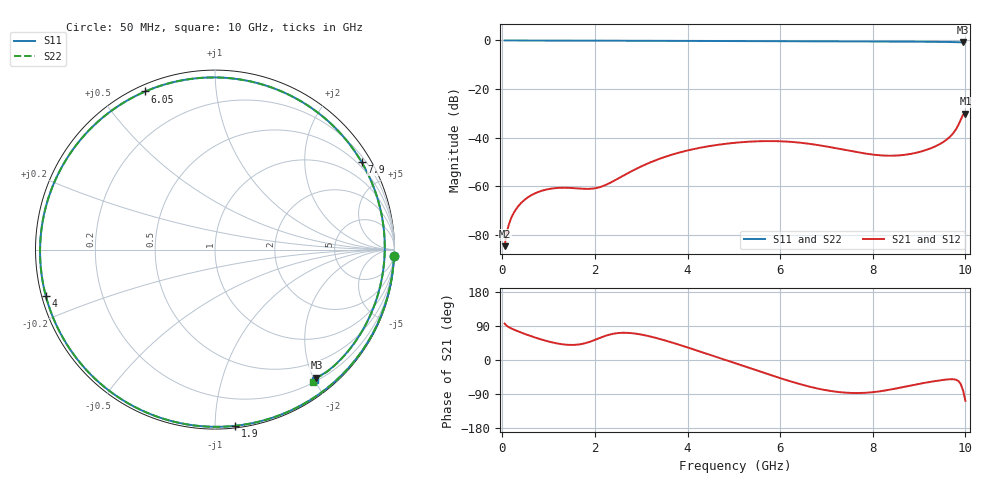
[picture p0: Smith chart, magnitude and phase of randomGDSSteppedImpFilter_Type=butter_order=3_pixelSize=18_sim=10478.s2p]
! freq	dB(S11)	phase(S11)	dB(S12)	phase(S12)
!  dB(S21)	phase(S21)	dB(S22)	phase(S22)
!S-par simulation data
#  GHz  S  DB  R 50
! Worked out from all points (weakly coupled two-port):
!   200 points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, 50 MHz to 10 GHz, reference 50 ohm
!   highest |S21| = -30.16 dB at 10 GHz (marker M1); lowest = -84.5 dB at 50 MHz (marker M2)
!   lowest |S11| = -0.8 dB at 9.95 GHz (marker M3), VSWR 21.09, Z = 12.4 - j102 ohm
!   |S11| at or under -10 dB: nowhere
!   |S22| runs from -0.8 to 0.0 dB; largest |S21 - S12| = 0
!   S11 on the Smith chart (normalised r, x): 50 MHz: 2, -52; 1.9 GHz: 0.01, -1.12; 4 GHz: 0.01, -0.13; 6.05 GHz: 0.03, +0.65; 7.9 GHz: 0.35, +3.60; 10 GHz: 0.22, -2.00
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0.05  -0.01 -2.2  -84.55 96.2  -84.55 96.2  -0.01 -2.2
0.3  -0.03 -13.7  -69.26 77.6  -69.26 77.6  -0.03 -13.7
0.6  -0.04 -27.3  -63.91 63.8  -63.91 63.8  -0.04 -27.3
1.1  -0.06 -49.5  -60.78 45.8  -60.78 45.8  -0.06 -49.5
1.75  -0.10 -77.2  -60.97 43.1  -60.97 43.1  -0.10 -77.2
1.9  -0.10 -83.4  -60.97 48.4  -60.97 48.4  -0.10 -83.4
2.6  -0.13 -111.4  -55.72 71.8  -55.72 71.8  -0.13 -111.5
3.4  -0.17 -142.1  -48.61 55.6  -48.61 55.6  -0.17 -142.1
4  -0.20 -164.6  -45.22 33.2  -45.22 33.2  -0.20 -164.8
4.55  -0.23 174.5  -43.19 11.0  -43.19 11.0  -0.23 174.3
5.05  -0.26 155.0  -42.02 -9.4  -42.02 -9.4  -0.26 154.7
5.55  -0.30 134.8  -41.42 -29.8  -41.42 -29.8  -0.30 134.5
6.05  -0.33 113.8  -41.48 -49.8  -41.48 -49.8  -0.33 113.4
6.7  -0.37 85.3  -42.66 -72.3  -42.66 -72.3  -0.37 84.7
7.25  -0.40 60.3  -44.46 -84.4  -44.46 -84.4  -0.40 59.7
7.9  -0.43 30.8  -46.66 -86.0  -46.66 -86.0  -0.43 30.1
8.35  -0.46 10.8  -47.37 -78.7  -47.37 -78.7  -0.46 10.1
8.85  -0.51 -10.4  -46.52 -66.5  -46.52 -66.5  -0.51 -11.1
9.45  -0.59 -34.1  -42.57 -53.8  -42.57 -53.8  -0.59 -34.8
9.75  -0.67 -45.3  -37.81 -50.9  -37.81 -50.9  -0.67 -46.0
9.95  -0.82 -51.6  -30.54 -80.6  -30.54 -80.6  -0.82 -52.3
10  -0.75 -52.6  -30.16 -107.7  -30.16 -107.7  -0.75 -53.3
